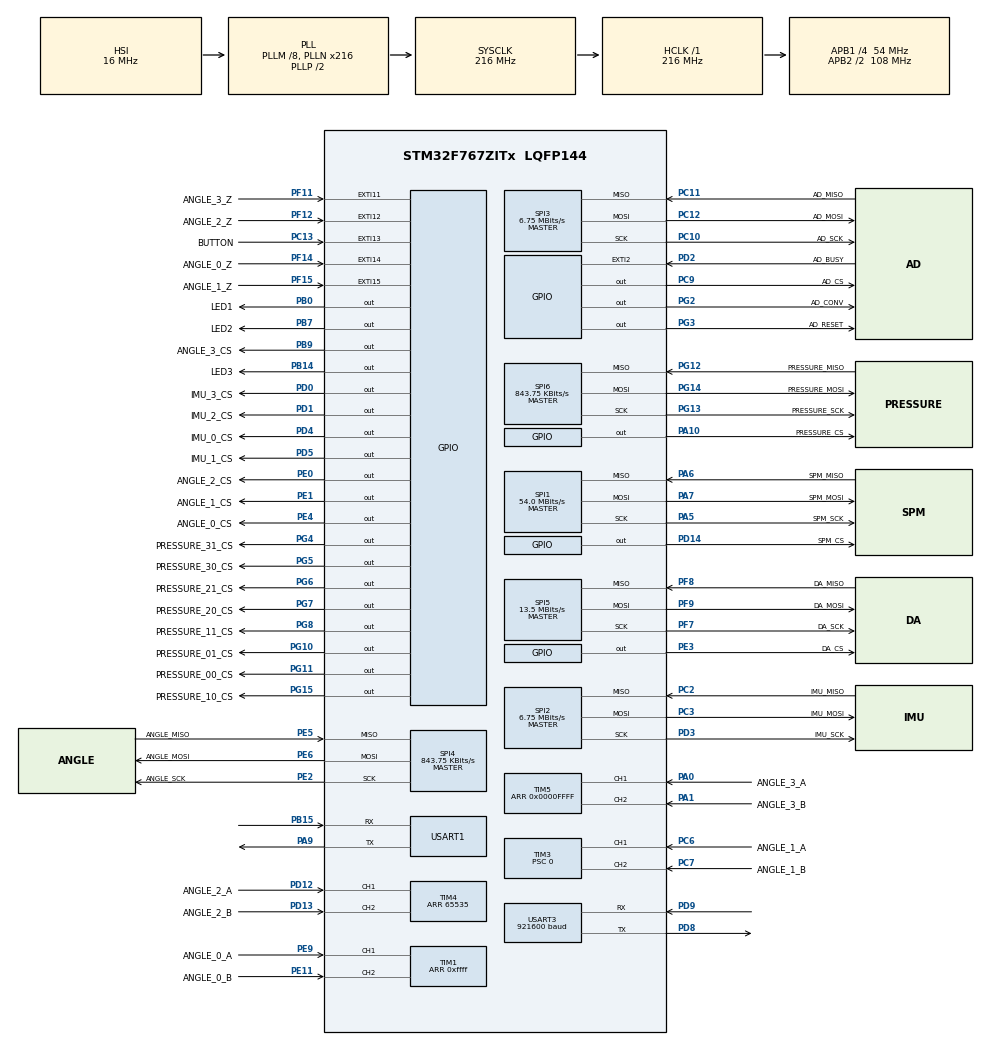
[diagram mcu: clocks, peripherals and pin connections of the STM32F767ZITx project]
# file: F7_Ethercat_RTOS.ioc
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CORTEX_M7.CPU_DCache=Enabled
CORTEX_M7.CPU_ICache=Enabled
Dma.Request0=SPI3_RX
Dma.Request1=SPI3_TX
Dma.Request2=SPI6_RX
Dma.Request3=SPI6_TX
Dma.Request4=USART3_RX
Dma.Request5=USART3_TX
Dma.SPI3_RX.0.Direction=DMA_PERIPH_TO_MEMORY
Dma.SPI3_RX.0.FIFOMode=DMA_FIFOMODE_DISABLE
Dma.SPI3_RX.0.Instance=DMA1_Stream0
Dma.SPI3_RX.0.MemDataAlignment=DMA_MDATAALIGN_HALFWORD
Dma.SPI3_RX.0.MemInc=DMA_MINC_ENABLE
Dma.SPI3_RX.0.Mode=DMA_NORMAL
Dma.SPI3_RX.0.PeriphDataAlignment=DMA_PDATAALIGN_HALFWORD
Dma.SPI3_RX.0.PeriphInc=DMA_PINC_DISABLE
Dma.SPI3_RX.0.Priority=DMA_PRIORITY_HIGH
Dma.SPI3_TX.1.Direction=DMA_MEMORY_TO_PERIPH
Dma.SPI3_TX.1.FIFOMode=DMA_FIFOMODE_DISABLE
Dma.SPI3_TX.1.Instance=DMA1_Stream5
Dma.SPI3_TX.1.MemDataAlignment=DMA_MDATAALIGN_HALFWORD
Dma.SPI3_TX.1.MemInc=DMA_MINC_ENABLE
Dma.SPI3_TX.1.Mode=DMA_NORMAL
Dma.SPI3_TX.1.PeriphDataAlignment=DMA_PDATAALIGN_HALFWORD
Dma.SPI3_TX.1.PeriphInc=DMA_PINC_DISABLE
Dma.SPI3_TX.1.Priority=DMA_PRIORITY_HIGH
Dma.SPI6_RX.2.Direction=DMA_PERIPH_TO_MEMORY
Dma.SPI6_RX.2.FIFOMode=DMA_FIFOMODE_DISABLE
Dma.SPI6_RX.2.Instance=DMA2_Stream6
Dma.SPI6_RX.2.MemDataAlignment=DMA_MDATAALIGN_HALFWORD
Dma.SPI6_RX.2.MemInc=DMA_MINC_ENABLE
Dma.SPI6_RX.2.Mode=DMA_NORMAL
Dma.SPI6_RX.2.PeriphDataAlignment=DMA_PDATAALIGN_HALFWORD
Dma.SPI6_RX.2.PeriphInc=DMA_PINC_DISABLE
Dma.SPI6_RX.2.Priority=DMA_PRIORITY_LOW
Dma.SPI6_TX.3.Direction=DMA_MEMORY_TO_PERIPH
Dma.SPI6_TX.3.FIFOMode=DMA_FIFOMODE_DISABLE
Dma.SPI6_TX.3.Instance=DMA2_Stream5
Dma.SPI6_TX.3.MemDataAlignment=DMA_MDATAALIGN_HALFWORD
Dma.SPI6_TX.3.MemInc=DMA_MINC_ENABLE
Dma.SPI6_TX.3.Mode=DMA_NORMAL
Dma.SPI6_TX.3.PeriphDataAlignment=DMA_PDATAALIGN_HALFWORD
Dma.SPI6_TX.3.PeriphInc=DMA_PINC_DISABLE
Dma.SPI6_TX.3.Priority=DMA_PRIORITY_LOW
Dma.USART3_RX.4.Direction=DMA_PERIPH_TO_MEMORY
Dma.USART3_RX.4.FIFOMode=DMA_FIFOMODE_DISABLE
Dma.USART3_RX.4.Instance=DMA1_Stream1
Dma.USART3_RX.4.MemDataAlignment=DMA_MDATAALIGN_BYTE
Dma.USART3_RX.4.MemInc=DMA_MINC_ENABLE
Dma.USART3_RX.4.Mode=DMA_NORMAL
Dma.USART3_RX.4.PeriphDataAlignment=DMA_PDATAALIGN_BYTE
Dma.USART3_RX.4.PeriphInc=DMA_PINC_DISABLE
Dma.USART3_RX.4.Priority=DMA_PRIORITY_HIGH
Dma.USART3_TX.5.Direction=DMA_MEMORY_TO_PERIPH
Dma.USART3_TX.5.FIFOMode=DMA_FIFOMODE_DISABLE
Dma.USART3_TX.5.Instance=DMA1_Stream4
Dma.USART3_TX.5.MemDataAlignment=DMA_MDATAALIGN_BYTE
Dma.USART3_TX.5.MemInc=DMA_MINC_ENABLE
Dma.USART3_TX.5.Mode=DMA_NORMAL
Dma.USART3_TX.5.PeriphDataAlignment=DMA_PDATAALIGN_BYTE
Dma.USART3_TX.5.PeriphInc=DMA_PINC_DISABLE
Dma.USART3_TX.5.Priority=DMA_PRIORITY_MEDIUM
FREERTOS.INCLUDE_vTaskDelayUntil=1
FREERTOS.MEMORY_ALLOCATION=1
FREERTOS.Tasks01=sendTask,-1,2048,sendTaskFunc,Default,NULL,Static,sendTaskBuffer,sendTaskControlBlock;EthPacketTask,0,2048,EthPacketTaskFunc,Default,NULL,Static,EthPacketTaskBuffer,EthPacketTaskControlBlock;EthCyclicTask,1,2048,EthCyclicTaskFunc,Default,NULL,Static,EthCyclicTaskBuffer,EthCyclicTaskControlBlock
Mcu.Family=STM32F7
Mcu.Name=STM32F767ZITx
Mcu.Package=LQFP144
NVIC.DMA1_Stream0_IRQn=true\:5\:0\:false\:false\:true\:true\:false
NVIC.DMA1_Stream1_IRQn=true\:5\:0\:false\:false\:true\:true\:false
NVIC.DMA1_Stream4_IRQn=true\:5\:0\:false\:false\:true\:true\:false
NVIC.DMA1_Stream5_IRQn=true\:5\:0\:false\:false\:true\:true\:false
NVIC.DMA2_Stream5_IRQn=true\:5\:0\:false\:false\:true\:true\:false
NVIC.DMA2_Stream6_IRQn=true\:5\:0\:false\:false\:true\:true\:false
NVIC.EXTI15_10_IRQn=true\:6\:0\:true\:false\:true\:true\:true
NVIC.EXTI2_IRQn=true\:5\:0\:false\:false\:true\:true\:true
NVIC.PriorityGroup=NVIC_PRIORITYGROUP_4
NVIC.SPI1_IRQn=true\:6\:0\:true\:false\:true\:true\:true
NVIC.SPI2_IRQn=true\:5\:0\:false\:false\:true\:true\:true
NVIC.SPI5_IRQn=true\:5\:0\:false\:false\:true\:true\:true
NVIC.TIM1_UP_TIM10_IRQn=true\:0\:0\:false\:false\:true\:false\:false
NVIC.TimeBase=TIM1_UP_TIM10_IRQn
NVIC.TimeBaseIP=TIM10
NVIC.USART3_IRQn=true\:15\:0\:true\:false\:true\:true\:true
PA0/WKUP.GPIO_Label=ANGLE_3_A
PA0/WKUP.Signal=S_TIM5_CH1
PA1.GPIO_Label=ANGLE_3_B
PA1.Signal=S_TIM5_CH2
PA10.GPIO_Label=PRESSURE_CS
PA10.PinState=GPIO_PIN_SET
PA10.Signal=GPIO_Output
PA5.GPIO_Label=SPM_SCK
PA5.Mode=Full_Duplex_Master
PA5.Signal=SPI1_SCK
PA6.GPIO_Label=SPM_MISO
PA6.Mode=Full_Duplex_Master
PA6.Signal=SPI1_MISO
PA7.GPIO_Label=SPM_MOSI
PA7.Mode=Full_Duplex_Master
PA7.Signal=SPI1_MOSI
PA9.Mode=Asynchronous
PA9.Signal=USART1_TX
PB0.GPIO_Label=LED1
PB0.PinState=GPIO_PIN_SET
PB0.Signal=GPIO_Output
PB14.GPIO_Label=LED3
PB14.PinState=GPIO_PIN_SET
PB14.Signal=GPIO_Output
PB15.Mode=Asynchronous
PB15.Signal=USART1_RX
PB7.GPIO_FM7=__NULL
PB7.GPIO_Label=LED2
PB7.PinState=GPIO_PIN_SET
PB7.Signal=GPIO_Output
PB9.GPIO_Label=ANGLE_3_CS
PB9.PinState=GPIO_PIN_SET
PB9.Signal=GPIO_Output
PC10.GPIO_Label=AD_SCK
PC10.Mode=Full_Duplex_Master
PC10.Signal=SPI3_SCK
PC11.GPIO_Label=AD_MISO
PC11.Mode=Full_Duplex_Master
PC11.Signal=SPI3_MISO
PC12.GPIO_Label=AD_MOSI
PC12.Mode=Full_Duplex_Master
PC12.Signal=SPI3_MOSI
PC13.GPIO_Label=BUTTON
PC13.GPIO_PuPd=GPIO_PULLDOWN
PC13.Signal=GPXTI13
PC2.GPIO_Label=IMU_MISO
PC2.GPIO_PuPd=GPIO_PULLUP
PC2.Mode=Full_Duplex_Master
PC2.Signal=SPI2_MISO
PC3.GPIO_Label=IMU_MOSI
PC3.GPIO_PuPd=GPIO_PULLUP
PC3.Mode=Full_Duplex_Master
PC3.Signal=SPI2_MOSI
PC6.GPIO_Label=ANGLE_1_A
PC6.Signal=S_TIM3_CH1
PC7.GPIO_Label=ANGLE_1_B
PC7.Signal=S_TIM3_CH2
PC9.GPIO_Label=AD_CS
PC9.PinState=GPIO_PIN_SET
PC9.Signal=GPIO_Output
PD0.GPIO_Label=IMU_3_CS
PD0.PinState=GPIO_PIN_SET
PD0.Signal=GPIO_Output
PD1.GPIO_Label=IMU_2_CS
PD1.PinState=GPIO_PIN_SET
PD1.Signal=GPIO_Output
PD12.GPIO_Label=ANGLE_2_A
PD12.Signal=S_TIM4_CH1
PD13.GPIO_Label=ANGLE_2_B
PD13.Signal=S_TIM4_CH2
PD14.GPIO_Label=SPM_CS
PD14.GPIO_ModeDefaultOutputPP=GPIO_MODE_OUTPUT_PP
PD14.GPIO_PuPd=GPIO_NOPULL
PD14.GPIO_Speed=GPIO_SPEED_FREQ_LOW
PD14.PinState=GPIO_PIN_SET
PD14.Signal=GPIO_Output
PD2.GPIO_Label=AD_BUSY
PD2.GPIO_PuPd=GPIO_PULLDOWN
PD2.Signal=GPXTI2
PD3.GPIO_Label=IMU_SCK
PD3.GPIO_PuPd=GPIO_PULLUP
PD3.Mode=Full_Duplex_Master
PD3.Signal=SPI2_SCK
PD4.GPIO_Label=IMU_0_CS
PD4.PinState=GPIO_PIN_SET
PD4.Signal=GPIO_Output
PD5.GPIO_Label=IMU_1_CS
PD5.PinState=GPIO_PIN_SET
PD5.Signal=GPIO_Output
PD8.GPIO_PuPd=GPIO_PULLUP
PD8.Mode=Asynchronous
PD8.Signal=USART3_TX
PD9.GPIO_PuPd=GPIO_PULLUP
PD9.Mode=Asynchronous
PD9.Signal=USART3_RX
PE0.GPIO_Label=ANGLE_2_CS
PE0.PinState=GPIO_PIN_SET
PE0.Signal=GPIO_Output
PE1.GPIO_Label=ANGLE_1_CS
PE1.PinState=GPIO_PIN_SET
PE1.Signal=GPIO_Output
PE11.GPIO_Label=ANGLE_0_B
PE11.Signal=S_TIM1_CH2
PE2.GPIO_Label=ANGLE_SCK
PE2.Mode=Full_Duplex_Master
PE2.Signal=SPI4_SCK
PE3.GPIO_Label=DA_CS
PE3.PinState=GPIO_PIN_SET
PE3.Signal=GPIO_Output
PE4.GPIO_Label=ANGLE_0_CS
PE4.PinState=GPIO_PIN_SET
PE4.Signal=GPIO_Output
PE5.GPIO_Label=ANGLE_MISO
PE5.Mode=Full_Duplex_Master
PE5.Signal=SPI4_MISO
PE6.GPIO_Label=ANGLE_MOSI
PE6.Mode=Full_Duplex_Master
PE6.Signal=SPI4_MOSI
PE9.GPIO_Label=ANGLE_0_A
PE9.Signal=S_TIM1_CH1
PF11.GPIO_Label=ANGLE_3_Z
PF11.GPIO_PuPd=GPIO_PULLDOWN
PF11.Signal=GPXTI11
PF12.GPIO_Label=ANGLE_2_Z
PF12.GPIO_PuPd=GPIO_PULLDOWN
PF12.Signal=GPXTI12
PF14.GPIO_Label=ANGLE_0_Z
PF14.GPIO_PuPd=GPIO_PULLDOWN
PF14.Signal=GPXTI14
PF15.GPIO_Label=ANGLE_1_Z
PF15.GPIO_PuPd=GPIO_PULLDOWN
PF15.Signal=GPXTI15
PF7.GPIO_Label=DA_SCK
PF7.Mode=Full_Duplex_Master
PF7.Signal=SPI5_SCK
PF8.GPIO_Label=DA_MISO
PF8.Mode=Full_Duplex_Master
PF8.Signal=SPI5_MISO
PF9.GPIO_Label=DA_MOSI
PF9.Mode=Full_Duplex_Master
PF9.Signal=SPI5_MOSI
PG10.GPIO_Label=PRESSURE_01_CS
PG10.PinState=GPIO_PIN_SET
PG10.Signal=GPIO_Output
PG11.GPIO_Label=PRESSURE_00_CS
PG11.PinState=GPIO_PIN_SET
PG11.Signal=GPIO_Output
PG12.GPIO_Label=PRESSURE_MISO
PG12.Mode=Full_Duplex_Master
PG12.Signal=SPI6_MISO
PG13.GPIO_Label=PRESSURE_SCK
PG13.Mode=Full_Duplex_Master
PG13.Signal=SPI6_SCK
PG14.GPIO_Label=PRESSURE_MOSI
PG14.Mode=Full_Duplex_Master
PG14.Signal=SPI6_MOSI
PG15.GPIO_Label=PRESSURE_10_CS
PG15.PinState=GPIO_PIN_SET
PG15.Signal=GPIO_Output
PG2.GPIO_Label=AD_CONV
PG2.Signal=GPIO_Output
PG3.GPIO_Label=AD_RESET
PG3.GPIO_PuPd=GPIO_PULLUP
PG3.PinState=GPIO_PIN_SET
PG3.Signal=GPIO_Output
PG4.GPIO_Label=PRESSURE_31_CS
PG4.PinState=GPIO_PIN_SET
PG4.Signal=GPIO_Output
PG5.GPIO_Label=PRESSURE_30_CS
PG5.PinState=GPIO_PIN_SET
PG5.Signal=GPIO_Output
PG6.GPIO_Label=PRESSURE_21_CS
PG6.PinState=GPIO_PIN_SET
PG6.Signal=GPIO_Output
PG7.GPIO_Label=PRESSURE_20_CS
PG7.PinState=GPIO_PIN_SET
PG7.Signal=GPIO_Output
PG8.GPIO_Label=PRESSURE_11_CS
PG8.PinState=GPIO_PIN_SET
PG8.Signal=GPIO_Output
ProjectManager.HeapSize=0x200
ProjectManager.StackSize=0x400
ProjectManager.TargetToolchain=SW4STM32
RCC.AHBFreq_Value=216000000
RCC.APB1CLKDivider=RCC_HCLK_DIV4
RCC.APB1Freq_Value=54000000
RCC.APB1TimFreq_Value=108000000
RCC.APB2CLKDivider=RCC_HCLK_DIV2
RCC.APB2Freq_Value=108000000
RCC.APB2TimFreq_Value=216000000
RCC.CortexFreq_Value=216000000
RCC.HCLKFreq_Value=216000000
RCC.HSE_VALUE=25000000
RCC.HSI_VALUE=16000000
RCC.LSE_VALUE=32768
RCC.PLLM=8
RCC.PLLN=216
RCC.SYSCLKFreq_VALUE=216000000
RCC.SYSCLKSource=RCC_SYSCLKSOURCE_PLLCLK
RCC.USBFreq_Value=216000000
RCC.VCOOutputFreq_Value=432000000
SH.S_TIM1_CH1.0=TIM1_CH1,Encoder_Interface
SH.S_TIM1_CH2.0=TIM1_CH2,Encoder_Interface
SH.S_TIM3_CH1.0=TIM3_CH1,Encoder_Interface
SH.S_TIM3_CH2.0=TIM3_CH2,Encoder_Interface
SH.S_TIM4_CH1.0=TIM4_CH1,Encoder_Interface
SH.S_TIM4_CH2.0=TIM4_CH2,Encoder_Interface
SH.S_TIM5_CH1.0=TIM5_CH1,Encoder_Interface
SH.S_TIM5_CH2.0=TIM5_CH2,Encoder_Interface
SPI1.BaudRatePrescaler=SPI_BAUDRATEPRESCALER_2
SPI1.CLKPhase=SPI_PHASE_2EDGE
SPI1.CLKPolarity=SPI_POLARITY_HIGH
SPI1.CalculateBaudRate=54.0 MBits/s
SPI1.DataSize=SPI_DATASIZE_8BIT
SPI1.Direction=SPI_DIRECTION_2LINES
SPI1.Mode=SPI_MODE_MASTER
SPI1.VirtualType=VM_MASTER
SPI2.BaudRatePrescaler=SPI_BAUDRATEPRESCALER_8
SPI2.CLKPhase=SPI_PHASE_1EDGE
SPI2.CLKPolarity=SPI_POLARITY_LOW
SPI2.CalculateBaudRate=6.75 MBits/s
SPI2.DataSize=SPI_DATASIZE_16BIT
SPI2.Direction=SPI_DIRECTION_2LINES
SPI2.Mode=SPI_MODE_MASTER
SPI2.VirtualType=VM_MASTER
SPI3.BaudRatePrescaler=SPI_BAUDRATEPRESCALER_8
SPI3.CLKPhase=SPI_PHASE_2EDGE
SPI3.CLKPolarity=SPI_POLARITY_HIGH
SPI3.CalculateBaudRate=6.75 MBits/s
SPI3.DataSize=SPI_DATASIZE_16BIT
SPI3.Direction=SPI_DIRECTION_2LINES
SPI3.Mode=SPI_MODE_MASTER
SPI3.VirtualType=VM_MASTER
SPI4.BaudRatePrescaler=SPI_BAUDRATEPRESCALER_128
SPI4.CLKPolarity=SPI_POLARITY_HIGH
SPI4.CalculateBaudRate=843.75 KBits/s
SPI4.DataSize=SPI_DATASIZE_16BIT
SPI4.Direction=SPI_DIRECTION_2LINES
SPI4.Mode=SPI_MODE_MASTER
SPI4.VirtualType=VM_MASTER
SPI5.BaudRatePrescaler=SPI_BAUDRATEPRESCALER_8
SPI5.CalculateBaudRate=13.5 MBits/s
SPI5.DataSize=SPI_DATASIZE_16BIT
SPI5.Direction=SPI_DIRECTION_2LINES
SPI5.Mode=SPI_MODE_MASTER
SPI5.VirtualType=VM_MASTER
SPI6.BaudRatePrescaler=SPI_BAUDRATEPRESCALER_128
SPI6.CalculateBaudRate=843.75 KBits/s
SPI6.DataSize=SPI_DATASIZE_16BIT
SPI6.Direction=SPI_DIRECTION_2LINES
SPI6.Mode=SPI_MODE_MASTER
SPI6.VirtualType=VM_MASTER
TIM1.EncoderMode=TIM_ENCODERMODE_TI12
TIM1.IC1Filter=6
TIM1.IC2Filter=6
TIM1.Period=0xffff
TIM2.Period=0xffffffff
TIM2.Prescaler=107
TIM3.EncoderMode=TIM_ENCODERMODE_TI12
TIM3.IC1Filter=6
TIM3.IC2Filter=6
TIM3.Period=65535
TIM3.Prescaler=0
TIM4.EncoderMode=TIM_ENCODERMODE_TI12
TIM4.IC1Filter=6
TIM4.IC2Filter=6
TIM4.Period=65535
TIM5.EncoderMode=TIM_ENCODERMODE_TI12
TIM5.IC1Filter=6
TIM5.IC2Filter=6
TIM5.Period=0x0000FFFF
USART1.VirtualMode-Asynchronous=VM_ASYNC
USART3.BaudRate=921600
USART3.VirtualMode-Asynchronous=VM_ASYNC
USART3.WordLength=WORDLENGTH_8B
VP_FREERTOS_VS_ENABLE.Mode=Enabled
VP_SYS_VS_tim10.Mode=TIM10
VP_TIM2_VS_ClockSourceINT.Mode=Internal
board=F7_Ethercat_RTOS

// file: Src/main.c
/**
  ******************************************************************************
  * @file           : main.c
  * @brief          : Main program body
  ******************************************************************************
  * This notice applies to any and all portions of this file
  * that are not between comment pairs USER CODE BEGIN and
  * USER CODE END. Other portions of this file, whether
  * inserted by the user or by software development tools
  * are owned by their respective copyright owners.
  *
  * Copyright (c) 2018 STMicroelectronics International N.V.
  * All rights reserved.
  *
  * Redistribution and use in source and binary forms, with or without
  * modification, are permitted, provided that the following conditions are met:
  *
  * 1. Redistribution of source code must retain the above copyright notice,
  *    this list of conditions and the following disclaimer.
  * 2. Redistributions in binary form must reproduce the above copyright notice,
  *    this list of conditions and the following disclaimer in the documentation
  *    and/or other materials provided with the distribution.
  * 3. Neither the name of STMicroelectronics nor the names of other
  *    contributors to this software may be used to endorse or promote products
  *    derived from this software without specific written permission.
  * 4. This software, including modifications and/or derivative works of this
  *    software, must execute solely and exclusively on microcontroller or
  *    microprocessor devices manufactured by or for STMicroelectronics.
  * 5. Redistribution and use of this software other than as permitted under
  *    this license is void and will automatically terminate your rights under
  *    this license.
  *
  * THIS SOFTWARE IS PROVIDED BY STMICROELECTRONICS AND CONTRIBUTORS "AS IS"
  * AND ANY EXPRESS, IMPLIED OR STATUTORY WARRANTIES, INCLUDING, BUT NOT
  * LIMITED TO, THE IMPLIED WARRANTIES OF MERCHANTABILITY, FITNESS FOR A
  * PARTICULAR PURPOSE AND NON-INFRINGEMENT OF THIRD PARTY INTELLECTUAL PROPERTY
  * RIGHTS ARE DISCLAIMED TO THE FULLEST EXTENT PERMITTED BY LAW. IN NO EVENT
  * SHALL STMICROELECTRONICS OR CONTRIBUTORS BE LIABLE FOR ANY DIRECT, INDIRECT,
  * INCIDENTAL, SPECIAL, EXEMPLARY, OR CONSEQUENTIAL DAMAGES (INCLUDING, BUT NOT
  * LIMITED TO, PROCUREMENT OF SUBSTITUTE GOODS OR SERVICES; LOSS OF USE, DATA,
  * OR PROFITS; OR BUSINESS INTERRUPTION) HOWEVER CAUSED AND ON ANY THEORY OF
  * LIABILITY, WHETHER IN CONTRACT, STRICT LIABILITY, OR TORT (INCLUDING
  * NEGLIGENCE OR OTHERWISE) ARISING IN ANY WAY OUT OF THE USE OF THIS SOFTWARE,
  * EVEN IF ADVISED OF THE POSSIBILITY OF SUCH DAMAGE.
  *
  ******************************************************************************
  */
#include "main.h"
#include "stm32f7xx_hal.h"
#include "cmsis_os.h"
#include "dma.h"
#include "spi.h"
#include "tim.h"
#include "usart.h"
#include "gpio.h"

/* USER CODE BEGIN Includes */
#include "stm32f7xx_nucleo_144.h"
#include "cifXErrors.h"
#include "UserInterface.h"
#include "kalman.h"
#include "myPID.h"
#include "PlantModel.h"
#include "LM10.h"
#include "cifXApplicationDemo.h"
#include "Angles.h"
#include "stdio.h"
#include "myUsartFunctions.h"
#include "pressureSensor.h"
/* USER CODE END Includes */

/* USER CODE BEGIN PV */
/* Private variables ---------------------------------------------------------*/
extern int Ethercat_Init(void);
/* USER CODE END PV */

void SystemClock_Config(void);
void MX_FREERTOS_Init(void);

/* USER CODE BEGIN PFP */
/* Private function prototypes -----------------------------------------------*/

/* USER CODE END PFP */

/* USER CODE BEGIN 0 */
/*****************************************************************************/

int32_t gTic;
/*****************************************************************************/

/* USER CODE END 0 */

int main(void)
{

  /* Enable I-Cache-------------------------------------------------------------*/
  SCB_EnableICache();

  /* Enable D-Cache-------------------------------------------------------------*/
  SCB_EnableDCache();

  /* MCU Configuration----------------------------------------------------------*/

  /* Reset of all peripherals, Initializes the Flash interface and the Systick. */
  HAL_Init();

  /* Configure the system clock */
  SystemClock_Config();

  /* Initialize all configured peripherals */
  MX_GPIO_Init();
  MX_DMA_Init();
  MX_USART3_UART_Init();
  MX_SPI1_Init();
  MX_SPI2_Init();
  MX_SPI3_Init();
  MX_SPI4_Init();
  MX_SPI5_Init();
  MX_TIM4_Init();
  MX_TIM3_Init();
  MX_SPI6_Init();
  MX_TIM5_Init();
  MX_TIM1_Init();
  MX_TIM2_Init();
  MX_USART1_UART_Init();
  /* USER CODE BEGIN 2 */
  HAL_TIM_Base_Start(&TTTimer);
  my_UsartInit(&huart3);
  Init_Central(&gCentral,&tAppData);
  Ethercat_Init();

  /* USER CODE END 2 */

  /* Call init function for freertos objects (in freertos.c) */
  MX_FREERTOS_Init();

  /* Start scheduler */
  osKernelStart();

  /* We should never get here as control is now taken by the scheduler */

  /* Infinite loop */
  while (1)
  {

  }

}

void SystemClock_Config(void)
{

  RCC_OscInitTypeDef RCC_OscInitStruct;
  RCC_ClkInitTypeDef RCC_ClkInitStruct;
  RCC_PeriphCLKInitTypeDef PeriphClkInitStruct;

    /**Configure the main internal regulator output voltage
    */
  __HAL_RCC_PWR_CLK_ENABLE();

  __HAL_PWR_VOLTAGESCALING_CONFIG(PWR_REGULATOR_VOLTAGE_SCALE1);

    /**Initializes the CPU, AHB and APB busses clocks
    */
  RCC_OscInitStruct.OscillatorType = RCC_OSCILLATORTYPE_HSI;
  RCC_OscInitStruct.HSIState = RCC_HSI_ON;
  RCC_OscInitStruct.HSICalibrationValue = 16;
  RCC_OscInitStruct.PLL.PLLState = RCC_PLL_ON;
  RCC_OscInitStruct.PLL.PLLSource = RCC_PLLSOURCE_HSI;
  RCC_OscInitStruct.PLL.PLLM = 8;
  RCC_OscInitStruct.PLL.PLLN = 216;
  RCC_OscInitStruct.PLL.PLLP = RCC_PLLP_DIV2;
  RCC_OscInitStruct.PLL.PLLQ = 2;
  if (HAL_RCC_OscConfig(&RCC_OscInitStruct) != HAL_OK)
  {
    _Error_Handler(__FILE__, __LINE__);
  }

    /**Activate the Over-Drive mode
    */
  if (HAL_PWREx_EnableOverDrive() != HAL_OK)
  {
    _Error_Handler(__FILE__, __LINE__);
  }

    /**Initializes the CPU, AHB and APB busses clocks
    */
  RCC_ClkInitStruct.ClockType = RCC_CLOCKTYPE_HCLK|RCC_CLOCKTYPE_SYSCLK
                              |RCC_CLOCKTYPE_PCLK1|RCC_CLOCKTYPE_PCLK2;
  RCC_ClkInitStruct.SYSCLKSource = RCC_SYSCLKSOURCE_PLLCLK;
  RCC_ClkInitStruct.AHBCLKDivider = RCC_SYSCLK_DIV1;
  RCC_ClkInitStruct.APB1CLKDivider = RCC_HCLK_DIV4;
  RCC_ClkInitStruct.APB2CLKDivider = RCC_HCLK_DIV2;

  if (HAL_RCC_ClockConfig(&RCC_ClkInitStruct, FLASH_LATENCY_7) != HAL_OK)
  {
    _Error_Handler(__FILE__, __LINE__);
  }

  PeriphClkInitStruct.PeriphClockSelection = RCC_PERIPHCLK_USART1|RCC_PERIPHCLK_USART3;
  PeriphClkInitStruct.Usart1ClockSelection = RCC_USART1CLKSOURCE_PCLK2;
  PeriphClkInitStruct.Usart3ClockSelection = RCC_USART3CLKSOURCE_PCLK1;
  if (HAL_RCCEx_PeriphCLKConfig(&PeriphClkInitStruct) != HAL_OK)
  {
    _Error_Handler(__FILE__, __LINE__);
  }

    /**Configure the Systick interrupt time
    */
  HAL_SYSTICK_Config(HAL_RCC_GetHCLKFreq()/1000);

    /**Configure the Systick
    */
  HAL_SYSTICK_CLKSourceConfig(SYSTICK_CLKSOURCE_HCLK);

  /* SysTick_IRQn interrupt configuration */
  HAL_NVIC_SetPriority(SysTick_IRQn, 15, 0);
}

/* USER CODE BEGIN 4 */

/*-------------------Delay Function needs modification--------------------------------*/
int32_t TIC()
{
	 gTic =  (int32_t)TTTimer.Instance->CNT;
	 return gTic;
}
int32_t TOC()
{
	return (int32_t)((int32_t)(TTTimer.Instance->CNT)-gTic);
}

void delay_us(uint32_t t)  //1MHz 1us
{
	uint32_t tt=TTTimer.Instance->CNT;

	while((uint32_t)((uint32_t)(TTTimer.Instance->CNT)-tt)<t-1);
}
void delay_ns(uint32_t t)  ////20MHz 50ns
{

   for(int i=0;i<t/50;i++)
	   {

	   	   __ASM volatile ("NOP");
	   }
}

/*-----------------------Call back functions----------------------*/
void HAL_SPI_TxRxCpltCallback(SPI_HandleTypeDef *hspi)
{
	if (hspi==&hspi_AD)
	{
		AD_SPICallback(&(ptCentral->ADDevice));

	}
	else if(hspi == &hspi_PRESSURE)
	{
		pressure_SPICallback(ptCentral->ptPressureHub);
	}
}

void HAL_GPIO_EXTI_Callback(uint16_t GPIO_Pin)
{
	if (GPIO_Pin == AD_BUSY_Pin)
		{
		AD_BUSYCallback(&(ptCentral->ADDevice));
		}
	else if(GPIO_Pin == ANGLE_0_Z_Pin)
	{
		AS5311_EXTICallback((AS5311_DEVICE *)(ptCentral->ptAngleHub->angleDevices[0]));
	}
	else if(GPIO_Pin == ANGLE_1_Z_Pin)
	{
		AS5311_EXTICallback((AS5311_DEVICE *)(ptCentral->ptAngleHub->angleDevices[1]));
	}
	else if(GPIO_Pin == ANGLE_2_Z_Pin)
	{
		AS5311_EXTICallback((AS5311_DEVICE *)(ptCentral->ptAngleHub->angleDevices[2]));
	}
	else if(GPIO_Pin == ANGLE_3_Z_Pin)
	{
		AS5311_EXTICallback((AS5311_DEVICE *)(ptCentral->ptAngleHub->angleDevices[3]));
	}

}
/* USER CODE END 4 */

void HAL_TIM_PeriodElapsedCallback(TIM_HandleTypeDef *htim)
{
  if (htim->Instance == TIM10) {
    HAL_IncTick();
  }
  /* USER CODE BEGIN Callback 1 */
/*  else if(htim->Instance == TIM7){

  }*/
  /* USER CODE END Callback 1 */
}

void _Error_Handler(char *file, int line)
{
  /* USER CODE BEGIN Error_Handler_Debug */
  /* User can add his own implementation to report the HAL error return state */
	BSP_LED_On(LED3);
  while(1)
  {
  }
  /* USER CODE END Error_Handler_Debug */
}

/************************ (C) COPYRIGHT STMicroelectronics *****END OF FILE****/

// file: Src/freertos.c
/**
  ******************************************************************************
  * File Name          : freertos.c
  * Description        : Code for freertos applications
  ******************************************************************************
  * This notice applies to any and all portions of this file
  * that are not between comment pairs USER CODE BEGIN and
  * USER CODE END. Other portions of this file, whether
  * inserted by the user or by software development tools
  * are owned by their respective copyright owners.
  *
  * Copyright (c) 2018 STMicroelectronics International N.V.
  * All rights reserved.
  *
  * Redistribution and use in source and binary forms, with or without
  * modification, are permitted, provided that the following conditions are met:
  *
  * 1. Redistribution of source code must retain the above copyright notice,
  *    this list of conditions and the following disclaimer.
  * 2. Redistributions in binary form must reproduce the above copyright notice,
  *    this list of conditions and the following disclaimer in the documentation
  *    and/or other materials provided with the distribution.
  * 3. Neither the name of STMicroelectronics nor the names of other
  *    contributors to this software may be used to endorse or promote products
  *    derived from this software without specific written permission.
  * 4. This software, including modifications and/or derivative works of this
  *    software, must execute solely and exclusively on microcontroller or
  *    microprocessor devices manufactured by or for STMicroelectronics.
  * 5. Redistribution and use of this software other than as permitted under
  *    this license is void and will automatically terminate your rights under
  *    this license.
  *
  * THIS SOFTWARE IS PROVIDED BY STMICROELECTRONICS AND CONTRIBUTORS "AS IS"
  * AND ANY EXPRESS, IMPLIED OR STATUTORY WARRANTIES, INCLUDING, BUT NOT
  * LIMITED TO, THE IMPLIED WARRANTIES OF MERCHANTABILITY, FITNESS FOR A
  * PARTICULAR PURPOSE AND NON-INFRINGEMENT OF THIRD PARTY INTELLECTUAL PROPERTY
  * RIGHTS ARE DISCLAIMED TO THE FULLEST EXTENT PERMITTED BY LAW. IN NO EVENT
  * SHALL STMICROELECTRONICS OR CONTRIBUTORS BE LIABLE FOR ANY DIRECT, INDIRECT,
  * INCIDENTAL, SPECIAL, EXEMPLARY, OR CONSEQUENTIAL DAMAGES (INCLUDING, BUT NOT
  * LIMITED TO, PROCUREMENT OF SUBSTITUTE GOODS OR SERVICES; LOSS OF USE, DATA,
  * OR PROFITS; OR BUSINESS INTERRUPTION) HOWEVER CAUSED AND ON ANY THEORY OF
  * LIABILITY, WHETHER IN CONTRACT, STRICT LIABILITY, OR TORT (INCLUDING
  * NEGLIGENCE OR OTHERWISE) ARISING IN ANY WAY OUT OF THE USE OF THIS SOFTWARE,
  * EVEN IF ADVISED OF THE POSSIBILITY OF SUCH DAMAGE.
  *
  ******************************************************************************
  */

#include "FreeRTOS.h"
#include "task.h"
#include "cmsis_os.h"

/* USER CODE BEGIN Includes */
#include "usart.h"
#include "main.h"
#include "UserInterface.h"
#include "cifXErrors.h"
#include "tim.h"
#include "cifXApplicationDemo.h"
#include "myUsartFunctions.h"
#include "Controller.h"
/* USER CODE END Includes */

osThreadId sendTaskHandle;
uint32_t sendTaskBuffer[ 2048 ];
osStaticThreadDef_t sendTaskControlBlock;
osThreadId EthPacketTaskHandle;
uint32_t EthPacketTaskBuffer[ 2048 ];
osStaticThreadDef_t EthPacketTaskControlBlock;
osThreadId EthCyclicTaskHandle;
uint32_t EthCyclicTaskBuffer[ 2048 ];
osStaticThreadDef_t EthCyclicTaskControlBlock;

/* USER CODE BEGIN Variables */
uint16_t start_transmission=1;
/* USER CODE END Variables */

void sendTaskFunc(void const * argument);
void EthPacketTaskFunc(void const * argument);
void EthCyclicTaskFunc(void const * argument);

void MX_FREERTOS_Init(void); /* (MISRA C 2004 rule 8.1) */

/* GetIdleTaskMemory prototype (linked to static allocation support) */
void vApplicationGetIdleTaskMemory( StaticTask_t **ppxIdleTaskTCBBuffer, StackType_t **ppxIdleTaskStackBuffer, uint32_t *pulIdleTaskStackSize );

/* Hook prototypes */

/* USER CODE BEGIN GET_IDLE_TASK_MEMORY */
static StaticTask_t xIdleTaskTCBBuffer;
static StackType_t xIdleStack[configMINIMAL_STACK_SIZE];

void vApplicationGetIdleTaskMemory( StaticTask_t **ppxIdleTaskTCBBuffer, StackType_t **ppxIdleTaskStackBuffer, uint32_t *pulIdleTaskStackSize )
{
  *ppxIdleTaskTCBBuffer = &xIdleTaskTCBBuffer;
  *ppxIdleTaskStackBuffer = &xIdleStack[0];
  *pulIdleTaskStackSize = configMINIMAL_STACK_SIZE;
  /* place for user code */
}
/* USER CODE END GET_IDLE_TASK_MEMORY */

/* Init FreeRTOS */

void MX_FREERTOS_Init(void) {

  /* Create the thread(s) */
  /* definition and creation of sendTask */
  osThreadStaticDef(sendTask, sendTaskFunc, osPriorityBelowNormal, 0, 2048, sendTaskBuffer, &sendTaskControlBlock);
  sendTaskHandle = osThreadCreate(osThread(sendTask), NULL);

  /* definition and creation of EthPacketTask */
  osThreadStaticDef(EthPacketTask, EthPacketTaskFunc, osPriorityNormal, 0, 2048, EthPacketTaskBuffer, &EthPacketTaskControlBlock);
  EthPacketTaskHandle = osThreadCreate(osThread(EthPacketTask), NULL);

  /* definition and creation of EthCyclicTask */
  osThreadStaticDef(EthCyclicTask, EthCyclicTaskFunc, osPriorityAboveNormal, 0, 2048, EthCyclicTaskBuffer, &EthCyclicTaskControlBlock);
  EthCyclicTaskHandle = osThreadCreate(osThread(EthCyclicTask), NULL);

}

/* sendTaskFunc function */
void sendTaskFunc(void const * argument)
{

  /* USER CODE BEGIN sendTaskFunc */
	TickType_t xLastWakeTime=xTaskGetTickCount();;
	TickType_t sendTaskPeriod=pdMS_TO_TICKS(1);   //100ms Period
	CONTROLLER_TYPE *ptController = ptCentral->ptControlHub->ptController[0];
	  /* Infinite loop */
  for(;;)
  {

	  if(start_transmission){

	/*	  printf("%.3f %1.6f %2.4f %6.0f %6.0f  %6.0f %6.0f %2.3f %2.3f %1.3f %1.3f\r\n",
				    HAL_GetTick()/1000.0f,
					ptCentral->ptSensorData->angle[0],
					ptCentral->ptControlHub->ptController[0]->vel.Real,
					ptCentral->ptSensorData->pressure[0][0],
					ptCentral->ptSensorData->pressure[0][1],
					ptCentral->ptNominalData->pressure[0][0],
					ptCentral->ptNominalData->pressure[0][1],
					ptCentral->ptSensorData->stiffness[0],
					ptCentral->ptNominalData->stiffness[0],
					ptController->pOut[0],
					ptController->pOut[1]
					);
*/
		  printf("%.3f %6.0f %6.0f  %6.0f %6.0f %2.3f %2.3f\r\n",
					HAL_GetTick()/1000.0f,
					ptCentral->ptSensorData->pressure[0][0],
					ptCentral->ptSensorData->pressure[0][1],
					ptCentral->ptNominalData->pressure[0][0],
					ptCentral->ptNominalData->pressure[0][1],
					ptCentral->ADDevice.fChannel[0],
					ptCentral->ADDevice.fChannel[1]
					);

	  /*************100us*********************/
//	  printf("%.3f  %1.6f %2.4f %3.3f  %1.6f %2.4f %3.3f    %6.0f %6.0f %6.0f %6.0f    %2.3f %2.3f  %1.6f %1.6f %.6f %.6f       %.6f %.6f %.6f %.6f %.6f %.6f %.6f %.6f     %3.4f %3.4f %.6f %.6f %.6f %.6f  %.6f %.6f %.6f   %2.4f %2.4f\r\n",
//	  			   HAL_GetTick()/1000.0f,
//				   ptCentral->ptNominalData->angle[0],
//				   ptCentral->ptNominalData->velocity[0],
//				   ptCentral->ptNominalData->acceleration[0],
//	  			   ptCentral->ptSensorData->angle[0],
//				   ptCentral->ptSensorData->velocity[0],
//				   ptCentral->ptSensorData->acceleration[0],
//				   ptCentral->ptSensorData->pressure[0][0],
//				   ptCentral->ptSensorData->pressure[0][1],
//				   ptCentral->ptNominalData->pressure[0][0],
//				   ptCentral->ptNominalData->pressure[0][1],
//				   ptCentral->ptSensorData->stiffness[0],
//				   ptCentral->ptNominalData->stiffness[0],
//				   ptController->pOut[0],
//				   ptController->pOut[1],
//				   0.0f,
//				   0.0f,
//				   ptController->state.m1,
//				   ptController->state.m2,
//				   ptController->state.m1dpos,
//				   ptController->state.m1dpre,
//				   ptController->state.m1dplus,
//				   ptController->state.m2dpos,
//				   ptController->state.m2dpre,
//				   ptController->state.m2dplus,
//				   ptCentral->ptSensorData->torque[0],
//				   ptCentral->ptSensorData->force[0],
//				   ptController->pid.P,
//				   ptController->pid.I,
//				   ptController->pid.D,
//				   ptController->pid.U,
//				   ptController->pid.Kp,
//				   ptController->pid.Ki,
//				   ptController->pid.Kd,
//				   ptCentral->ADDevice.fChannel[0],
//				   ptCentral->ADDevice.fChannel[1]
//				   );
	  }
	  vTaskDelayUntil(&xLastWakeTime,sendTaskPeriod);
  }
  /* USER CODE END sendTaskFunc */
}

/* EthPacketTaskFunc function */
void EthPacketTaskFunc(void const * argument)
{
  /* USER CODE BEGIN EthPacketTaskFunc */
	TickType_t xLastWakeTime=xTaskGetTickCount();
	TickType_t EthPacketTaskPeriod=pdMS_TO_TICKS(10);   //10ms Period for command handle
	int32_t lRet;
    lRet = Protocol_SendFirstPacket(&tAppData);
	int32_t c1,c2;
  /* Infinite loop */
    /****100 us****/
  for(;;)
  {
	  while(tAppData.fRunning && lRet == CIFX_NO_ERROR){
		  c1=TIC();
		/** check and process incoming packets */
		  lRet = EthercatPacketEventHandler();

		/* process Terminal command, if any.*/
		  Usart_TerminalHandler();
		  c2=TIC();
		  ptCentral->process_time.terminalTaskTime = c2-c1;
		  vTaskDelayUntil(&xLastWakeTime,EthPacketTaskPeriod);
		}
		/** remove calling of App_IODataHandler, because we don't have valid IO Data any more */
	  Ethercat_DeInit();
  }
  /* USER CODE END EthPacketTaskFunc */
}

/* EthCyclicTaskFunc function */
void EthCyclicTaskFunc(void const * argument)
{
  /* USER CODE BEGIN EthCyclicTaskFunc */
	TickType_t xLastWakeTime=xTaskGetTickCount();
	TickType_t EthCyclicTaskPeriod=pdMS_TO_TICKS(1);   //1ms Period
	int32_t c1,c2;
	int32_t c3=0;
	int32_t c4=0;
  /* Infinite loop */
	/*****500 us******/
  for(;;)
  {
	  c1 = TIC();
	  /*update Sensor Data, 200 us, and EthercatDataExchange 200us*/
	  ptCentral->updateData(ptCentral);
	  c2 = TIC();

	  if(ptCentral->gogogo){
	  /*control according to commands,50us*/
	  ptCentral->ptControlHub->control(ptCentral->ptControlHub,0);
	  c3 = TIC();

	  /*apply control outcome, 50us*/
	  ptCentral->ptActuatorHub->moveJoint(ptCentral->ptActuatorHub,0);

	  }
	  c4 = TIC();
	  ptCentral->process_time.controlTaskTime = c4-c1;
	  vTaskDelayUntil(&xLastWakeTime,EthCyclicTaskPeriod);
  }
  /* USER CODE END EthCyclicTaskFunc */
}

/************************ (C) COPYRIGHT STMicroelectronics *****END OF FILE****/
